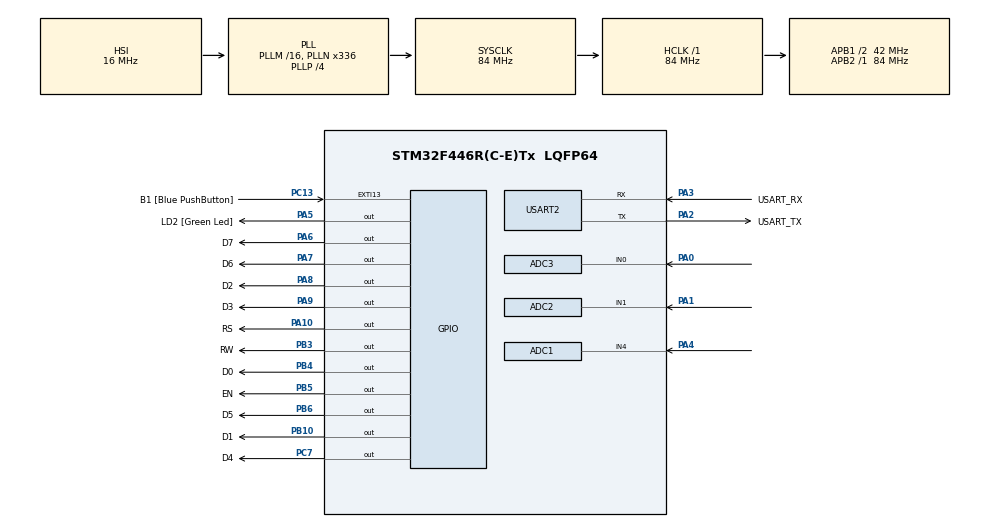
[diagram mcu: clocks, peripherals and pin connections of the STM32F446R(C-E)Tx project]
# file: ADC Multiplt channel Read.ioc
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ADC1.Channel-2\#ChannelRegularConversion=ADC_CHANNEL_4
ADC1.NbrOfConversionFlag=1
ADC1.Rank-2\#ChannelRegularConversion=1
ADC1.SamplingTime-2\#ChannelRegularConversion=ADC_SAMPLETIME_3CYCLES
ADC1.master=1
ADC2.Channel-1\#ChannelRegularConversion=ADC_CHANNEL_1
ADC2.NbrOfConversionFlag=1
ADC2.Rank-1\#ChannelRegularConversion=1
ADC2.SamplingTime-1\#ChannelRegularConversion=ADC_SAMPLETIME_3CYCLES
ADC3.Channel-4\#ChannelRegularConversion=ADC_CHANNEL_0
ADC3.NbrOfConversionFlag=1
ADC3.Rank-4\#ChannelRegularConversion=1
ADC3.SamplingTime-4\#ChannelRegularConversion=ADC_SAMPLETIME_3CYCLES
Mcu.Family=STM32F4
Mcu.Name=STM32F446R(C-E)Tx
Mcu.Package=LQFP64
NVIC.PriorityGroup=NVIC_PRIORITYGROUP_0
PA0-WKUP.Signal=ADCx_IN0
PA1.Signal=ADCx_IN1
PA10.GPIO_Label=RS
PA10.Signal=GPIO_Output
PA13.GPIO_Label=TMS
PA13.Mode=Serial_Wire
PA13.Signal=SYS_JTMS-SWDIO
PA14.GPIO_Label=TCK
PA14.Mode=Serial_Wire
PA14.Signal=SYS_JTCK-SWCLK
PA2.GPIO_Label=USART_TX
PA2.Mode=Asynchronous
PA2.Signal=USART2_TX
PA3.GPIO_Label=USART_RX
PA3.Mode=Asynchronous
PA3.Signal=USART2_RX
PA4.Signal=ADCx_IN4
PA5.GPIO_Label=LD2 [Green Led]
PA5.Signal=GPIO_Output
PA6.GPIO_Label=D7
PA6.Signal=GPIO_Output
PA7.GPIO_Label=D6
PA7.Signal=GPIO_Output
PA8.GPIO_Label=D2
PA8.Signal=GPIO_Output
PA9.GPIO_Label=D3
PA9.Signal=GPIO_Output
PB10.GPIO_Label=D1
PB10.Signal=GPIO_Output
PB3.GPIO_Label=RW
PB3.Signal=GPIO_Output
PB4.GPIO_Label=D0
PB4.Signal=GPIO_Output
PB5.GPIO_Label=EN
PB5.Signal=GPIO_Output
PB6.GPIO_Label=D5
PB6.Signal=GPIO_Output
PC13.GPIO_Label=B1 [Blue PushButton]
PC13.GPIO_ModeDefaultEXTI=GPIO_MODE_IT_FALLING
PC13.Signal=GPXTI13
PC14-OSC32_IN.Mode=LSE-External-Oscillator
PC14-OSC32_IN.Signal=RCC_OSC32_IN
PC15-OSC32_OUT.Mode=LSE-External-Oscillator
PC15-OSC32_OUT.Signal=RCC_OSC32_OUT
PC7.GPIO_Label=D4
PC7.Signal=GPIO_Output
PH0-OSC_IN.Mode=HSE-External-Oscillator
PH0-OSC_IN.Signal=RCC_OSC_IN
PH1-OSC_OUT.Mode=HSE-External-Oscillator
PH1-OSC_OUT.Signal=RCC_OSC_OUT
ProjectManager.HeapSize=0x200
ProjectManager.StackSize=0x400
ProjectManager.TargetToolchain=STM32CubeIDE
RCC.48MHZClocksFreq_Value=84000000
RCC.AHBFreq_Value=84000000
RCC.APB1CLKDivider=RCC_HCLK_DIV2
RCC.APB1Freq_Value=42000000
RCC.APB1TimFreq_Value=84000000
RCC.APB2Freq_Value=84000000
RCC.APB2TimFreq_Value=84000000
RCC.CortexFreq_Value=84000000
RCC.FLatency-AdvancedSettings=FLASH_LATENCY_2
RCC.HCLKFreq_Value=84000000
RCC.HSE_VALUE=8000000
RCC.HSI_VALUE=16000000
RCC.PLLN=336
RCC.PLLP=RCC_PLLP_DIV4
RCC.SYSCLKFreq_VALUE=84000000
RCC.SYSCLKSource=RCC_SYSCLKSOURCE_PLLCLK
RCC.USBFreq_Value=168000000
RCC.VCOOutputFreq_Value=336000000
SH.ADCx_IN0.0=ADC3_IN0,IN0
SH.ADCx_IN1.0=ADC2_IN1,IN1
SH.ADCx_IN4.0=ADC1_IN4,IN4
USART2.VirtualMode=VM_ASYNC
board=NUCLEO-F446RE

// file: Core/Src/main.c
/* USER CODE BEGIN Header */
/**
  ******************************************************************************
  * @file           : main.c
  * @brief          : Main program body
  ******************************************************************************
  * @attention
  *
  * Copyright (c) 2023 STMicroelectronics.
  * All rights reserved.
  *
  * This software is licensed under terms that can be found in the LICENSE file
  * in the root directory of this software component.
  * If no LICENSE file comes with this software, it is provided AS-IS.
  *
  ******************************************************************************
  */
/* USER CODE END Header */
#include "main.h"

/* USER CODE BEGIN Includes */
#include <string.h>
#include <stdio.h>
/* USER CODE END Includes */

/* USER CODE BEGIN PTD */

typedef union{

	struct{
		uint8_t b0:1;
		uint8_t b1:1;
		uint8_t b2:1;
		uint8_t b3:1;
		uint8_t b4:1;
		uint8_t b5:1;
		uint8_t b6:1;
		uint8_t b7:1;
	};

	struct{
		uint8_t nib1:4;
		uint8_t nib2:4;
	};

	uint8_t x;

}Typedef_LCD_PinConfig;

/* USER CODE END PTD */

/* USER CODE BEGIN PD */

#define LCD_CLEAR_SCREEN   0x01
#define LCD_8BIT_MODE      0x38
#define LCD_CURSOR_RIGHT   0x02
#define LCD_ENTRY_MODE     0x06
#define LCD_ON_CURSOR_OFF  0x0C
#define LCD_FIRST_ROW      0x80
#define LCD_SECOUND_ROW    0xC0
#define LCD_CGRAM_LOCation 0x40

/* USER CODE END PD */

ADC_HandleTypeDef hadc1;
ADC_HandleTypeDef hadc2;
ADC_HandleTypeDef hadc3;

UART_HandleTypeDef huart2;

/* USER CODE BEGIN PV */

uint16_t ADC1_Value = 0;
uint16_t ADC2_Value = 0;
uint16_t ADC3_Value = 0;

char arr[35] = {0};

/* USER CODE END PV */

void SystemClock_Config(void);
static void MX_GPIO_Init(void);
static void MX_USART2_UART_Init(void);
static void MX_ADC1_Init(void);
static void MX_ADC2_Init(void);
static void MX_ADC3_Init(void);
/* USER CODE BEGIN PFP */

void LCD_Initialize( void );
void Data_Write(uint8_t Byte);
void LCD_Data_Write(uint8_t data);
void LCD_Command_Write(uint8_t cmd);
void LCD_String_Write(const uint8_t *ptr);
void LCD_Location(uint8_t ROW_Position, uint8_t Col_Position);

/* USER CODE END PFP */

int main(void)
{

  /* MCU Configuration--------------------------------------------------------*/

  /* Reset of all peripherals, Initializes the Flash interface and the Systick. */
  HAL_Init();

  /* Configure the system clock */
  SystemClock_Config();

  /* Initialize all configured peripherals */
  MX_GPIO_Init();
  MX_USART2_UART_Init();
  MX_ADC1_Init();
  MX_ADC2_Init();
  MX_ADC3_Init();
  /* USER CODE BEGIN 2 */
  LCD_Initialize();

  /* USER CODE END 2 */

  /* Infinite loop */
  /* USER CODE BEGIN WHILE */
  while (1)
  {

	  HAL_ADC_Start(&hadc1);
	  if(HAL_ADC_PollForConversion(&hadc1, 5) == HAL_OK)
	  {
		  ADC1_Value = HAL_ADC_GetValue(&hadc1);
	  }
	  HAL_ADC_Stop(&hadc1);

	  sprintf(arr,"A0:%04d ",ADC1_Value);
	  LCD_Command_Write(0x80);
	  LCD_String_Write((const uint8_t *)arr);
	  HAL_UART_Transmit(&huart2, (uint8_t *)arr	, strlen(arr), HAL_MAX_DELAY);
	  HAL_UART_Transmit(&huart2, (uint8_t *)"\r\n", 2, HAL_MAX_DELAY);
	  HAL_UART_Transmit(&huart2, (uint8_t *)"\r\n", 2, HAL_MAX_DELAY);

	  HAL_ADC_Start(&hadc2);
	  if(HAL_ADC_PollForConversion(&hadc2, 5) == HAL_OK)
	  {
		  ADC2_Value = HAL_ADC_GetValue(&hadc2);
	  }
	  HAL_ADC_Stop(&hadc2);

	  sprintf(arr,"A1:%04d",ADC2_Value);
	  LCD_Command_Write(0x88);
	  LCD_String_Write((const uint8_t *)arr);
	  HAL_UART_Transmit(&huart2, (uint8_t *)arr	, strlen(arr), HAL_MAX_DELAY);
	  HAL_UART_Transmit(&huart2,(uint8_t *) "\r\n", 2, HAL_MAX_DELAY);
	  HAL_UART_Transmit(&huart2, (uint8_t *)"\r\n", 2, HAL_MAX_DELAY);

	  HAL_ADC_Start(&hadc3);
	  if(HAL_ADC_PollForConversion(&hadc3, 5) == HAL_OK)
	  {
		  ADC3_Value = HAL_ADC_GetValue(&hadc3);
	  }
	  HAL_ADC_Stop(&hadc3);

	  sprintf(arr,"A2:%04d",ADC3_Value);
	  LCD_Command_Write(0xC0);
	  LCD_String_Write((const uint8_t *)arr);
	  HAL_UART_Transmit(&huart2, (uint8_t *)arr	, strlen(arr), HAL_MAX_DELAY);
	  HAL_UART_Transmit(&huart2,(uint8_t *) "\r\n", 2, HAL_MAX_DELAY);
	  HAL_UART_Transmit(&huart2, (uint8_t *)"\r\n", 2, HAL_MAX_DELAY);

	  HAL_Delay(500);

    /* USER CODE END WHILE */

  }
}

void SystemClock_Config(void)
{
  RCC_OscInitTypeDef RCC_OscInitStruct = {0};
  RCC_ClkInitTypeDef RCC_ClkInitStruct = {0};

  /** Configure the main internal regulator output voltage
  */
  __HAL_RCC_PWR_CLK_ENABLE();
  __HAL_PWR_VOLTAGESCALING_CONFIG(PWR_REGULATOR_VOLTAGE_SCALE3);

  /** Initializes the RCC Oscillators according to the specified parameters
  * in the RCC_OscInitTypeDef structure.
  */
  RCC_OscInitStruct.OscillatorType = RCC_OSCILLATORTYPE_HSI;
  RCC_OscInitStruct.HSIState = RCC_HSI_ON;
  RCC_OscInitStruct.HSICalibrationValue = RCC_HSICALIBRATION_DEFAULT;
  RCC_OscInitStruct.PLL.PLLState = RCC_PLL_ON;
  RCC_OscInitStruct.PLL.PLLSource = RCC_PLLSOURCE_HSI;
  RCC_OscInitStruct.PLL.PLLM = 16;
  RCC_OscInitStruct.PLL.PLLN = 336;
  RCC_OscInitStruct.PLL.PLLP = RCC_PLLP_DIV4;
  RCC_OscInitStruct.PLL.PLLQ = 2;
  RCC_OscInitStruct.PLL.PLLR = 2;
  if (HAL_RCC_OscConfig(&RCC_OscInitStruct) != HAL_OK)
  {
    Error_Handler();
  }

  /** Initializes the CPU, AHB and APB buses clocks
  */
  RCC_ClkInitStruct.ClockType = RCC_CLOCKTYPE_HCLK|RCC_CLOCKTYPE_SYSCLK
                              |RCC_CLOCKTYPE_PCLK1|RCC_CLOCKTYPE_PCLK2;
  RCC_ClkInitStruct.SYSCLKSource = RCC_SYSCLKSOURCE_PLLCLK;
  RCC_ClkInitStruct.AHBCLKDivider = RCC_SYSCLK_DIV1;
  RCC_ClkInitStruct.APB1CLKDivider = RCC_HCLK_DIV2;
  RCC_ClkInitStruct.APB2CLKDivider = RCC_HCLK_DIV1;

  if (HAL_RCC_ClockConfig(&RCC_ClkInitStruct, FLASH_LATENCY_2) != HAL_OK)
  {
    Error_Handler();
  }
}

static void MX_ADC1_Init(void)
{

  ADC_ChannelConfTypeDef sConfig = {0};

  /** Configure the global features of the ADC (Clock, Resolution, Data Alignment and number of conversion)
  */
  hadc1.Instance = ADC1;
  hadc1.Init.ClockPrescaler = ADC_CLOCK_SYNC_PCLK_DIV4;
  hadc1.Init.Resolution = ADC_RESOLUTION_12B;
  hadc1.Init.ScanConvMode = DISABLE;
  hadc1.Init.ContinuousConvMode = DISABLE;
  hadc1.Init.DiscontinuousConvMode = DISABLE;
  hadc1.Init.ExternalTrigConvEdge = ADC_EXTERNALTRIGCONVEDGE_NONE;
  hadc1.Init.ExternalTrigConv = ADC_SOFTWARE_START;
  hadc1.Init.DataAlign = ADC_DATAALIGN_RIGHT;
  hadc1.Init.NbrOfConversion = 1;
  hadc1.Init.DMAContinuousRequests = DISABLE;
  hadc1.Init.EOCSelection = ADC_EOC_SINGLE_CONV;
  if (HAL_ADC_Init(&hadc1) != HAL_OK)
  {
    Error_Handler();
  }

  /** Configure for the selected ADC regular channel its corresponding rank in the sequencer and its sample time.
  */
  sConfig.Channel = ADC_CHANNEL_4;
  sConfig.Rank = 1;
  sConfig.SamplingTime = ADC_SAMPLETIME_3CYCLES;
  if (HAL_ADC_ConfigChannel(&hadc1, &sConfig) != HAL_OK)
  {
    Error_Handler();
  }

}

static void MX_ADC2_Init(void)
{

  ADC_ChannelConfTypeDef sConfig = {0};

  /** Configure the global features of the ADC (Clock, Resolution, Data Alignment and number of conversion)
  */
  hadc2.Instance = ADC2;
  hadc2.Init.ClockPrescaler = ADC_CLOCK_SYNC_PCLK_DIV4;
  hadc2.Init.Resolution = ADC_RESOLUTION_12B;
  hadc2.Init.ScanConvMode = DISABLE;
  hadc2.Init.ContinuousConvMode = DISABLE;
  hadc2.Init.DiscontinuousConvMode = DISABLE;
  hadc2.Init.ExternalTrigConvEdge = ADC_EXTERNALTRIGCONVEDGE_NONE;
  hadc2.Init.ExternalTrigConv = ADC_SOFTWARE_START;
  hadc2.Init.DataAlign = ADC_DATAALIGN_RIGHT;
  hadc2.Init.NbrOfConversion = 1;
  hadc2.Init.DMAContinuousRequests = DISABLE;
  hadc2.Init.EOCSelection = ADC_EOC_SINGLE_CONV;
  if (HAL_ADC_Init(&hadc2) != HAL_OK)
  {
    Error_Handler();
  }

  /** Configure for the selected ADC regular channel its corresponding rank in the sequencer and its sample time.
  */
  sConfig.Channel = ADC_CHANNEL_1;
  sConfig.Rank = 1;
  sConfig.SamplingTime = ADC_SAMPLETIME_3CYCLES;
  if (HAL_ADC_ConfigChannel(&hadc2, &sConfig) != HAL_OK)
  {
    Error_Handler();
  }

}

static void MX_ADC3_Init(void)
{

  ADC_ChannelConfTypeDef sConfig = {0};

  /** Configure the global features of the ADC (Clock, Resolution, Data Alignment and number of conversion)
  */
  hadc3.Instance = ADC3;
  hadc3.Init.ClockPrescaler = ADC_CLOCK_SYNC_PCLK_DIV4;
  hadc3.Init.Resolution = ADC_RESOLUTION_12B;
  hadc3.Init.ScanConvMode = DISABLE;
  hadc3.Init.ContinuousConvMode = DISABLE;
  hadc3.Init.DiscontinuousConvMode = DISABLE;
  hadc3.Init.ExternalTrigConvEdge = ADC_EXTERNALTRIGCONVEDGE_NONE;
  hadc3.Init.ExternalTrigConv = ADC_SOFTWARE_START;
  hadc3.Init.DataAlign = ADC_DATAALIGN_RIGHT;
  hadc3.Init.NbrOfConversion = 1;
  hadc3.Init.DMAContinuousRequests = DISABLE;
  hadc3.Init.EOCSelection = ADC_EOC_SINGLE_CONV;
  if (HAL_ADC_Init(&hadc3) != HAL_OK)
  {
    Error_Handler();
  }

  /** Configure for the selected ADC regular channel its corresponding rank in the sequencer and its sample time.
  */
  sConfig.Channel = ADC_CHANNEL_0;
  sConfig.Rank = 1;
  sConfig.SamplingTime = ADC_SAMPLETIME_3CYCLES;
  if (HAL_ADC_ConfigChannel(&hadc3, &sConfig) != HAL_OK)
  {
    Error_Handler();
  }

}

static void MX_USART2_UART_Init(void)
{

  huart2.Instance = USART2;
  huart2.Init.BaudRate = 115200;
  huart2.Init.WordLength = UART_WORDLENGTH_8B;
  huart2.Init.StopBits = UART_STOPBITS_1;
  huart2.Init.Parity = UART_PARITY_NONE;
  huart2.Init.Mode = UART_MODE_TX_RX;
  huart2.Init.HwFlowCtl = UART_HWCONTROL_NONE;
  huart2.Init.OverSampling = UART_OVERSAMPLING_16;
  if (HAL_UART_Init(&huart2) != HAL_OK)
  {
    Error_Handler();
  }

}

static void MX_GPIO_Init(void)
{
  GPIO_InitTypeDef GPIO_InitStruct = {0};

  /* GPIO Ports Clock Enable */
  __HAL_RCC_GPIOC_CLK_ENABLE();
  __HAL_RCC_GPIOH_CLK_ENABLE();
  __HAL_RCC_GPIOA_CLK_ENABLE();
  __HAL_RCC_GPIOB_CLK_ENABLE();

  /*Configure GPIO pin Output Level */
  HAL_GPIO_WritePin(GPIOA, LD2_Pin|D7_Pin|D6_Pin|D2_Pin
                          |D3_Pin|RS_Pin, GPIO_PIN_RESET);

  /*Configure GPIO pin Output Level */
  HAL_GPIO_WritePin(GPIOB, D1_Pin|RW_Pin|D0_Pin|EN_Pin
                          |D5_Pin, GPIO_PIN_RESET);

  /*Configure GPIO pin Output Level */
  HAL_GPIO_WritePin(D4_GPIO_Port, D4_Pin, GPIO_PIN_RESET);

  /*Configure GPIO pin : B1_Pin */
  GPIO_InitStruct.Pin = B1_Pin;
  GPIO_InitStruct.Mode = GPIO_MODE_IT_FALLING;
  GPIO_InitStruct.Pull = GPIO_NOPULL;
  HAL_GPIO_Init(B1_GPIO_Port, &GPIO_InitStruct);

  /*Configure GPIO pins : LD2_Pin D7_Pin D6_Pin D2_Pin
                           D3_Pin RS_Pin */
  GPIO_InitStruct.Pin = LD2_Pin|D7_Pin|D6_Pin|D2_Pin
                          |D3_Pin|RS_Pin;
  GPIO_InitStruct.Mode = GPIO_MODE_OUTPUT_PP;
  GPIO_InitStruct.Pull = GPIO_NOPULL;
  GPIO_InitStruct.Speed = GPIO_SPEED_FREQ_LOW;
  HAL_GPIO_Init(GPIOA, &GPIO_InitStruct);

  /*Configure GPIO pins : D1_Pin RW_Pin D0_Pin EN_Pin
                           D5_Pin */
  GPIO_InitStruct.Pin = D1_Pin|RW_Pin|D0_Pin|EN_Pin
                          |D5_Pin;
  GPIO_InitStruct.Mode = GPIO_MODE_OUTPUT_PP;
  GPIO_InitStruct.Pull = GPIO_NOPULL;
  GPIO_InitStruct.Speed = GPIO_SPEED_FREQ_LOW;
  HAL_GPIO_Init(GPIOB, &GPIO_InitStruct);

  /*Configure GPIO pin : D4_Pin */
  GPIO_InitStruct.Pin = D4_Pin;
  GPIO_InitStruct.Mode = GPIO_MODE_OUTPUT_PP;
  GPIO_InitStruct.Pull = GPIO_NOPULL;
  GPIO_InitStruct.Speed = GPIO_SPEED_FREQ_LOW;
  HAL_GPIO_Init(D4_GPIO_Port, &GPIO_InitStruct);

}

/* USER CODE BEGIN 4 */

void Data_Write(uint8_t Byte)
{

	Typedef_LCD_PinConfig y = (Typedef_LCD_PinConfig)Byte;

	HAL_GPIO_WritePin(GPIOB, D0_Pin, y.b0);
	HAL_GPIO_WritePin(GPIOB, D1_Pin, y.b1);
	HAL_GPIO_WritePin(GPIOA, D2_Pin, y.b2);
	HAL_GPIO_WritePin(GPIOA, D3_Pin, y.b3);
	HAL_GPIO_WritePin(GPIOC, D4_Pin, y.b4);
	HAL_GPIO_WritePin(GPIOB, D5_Pin, y.b5);
	HAL_GPIO_WritePin(GPIOA, D6_Pin, y.b6);
	HAL_GPIO_WritePin(GPIOA, D7_Pin, y.b7);

}

void LCD_Data_Write(uint8_t data)
{

	HAL_GPIO_WritePin(GPIOA, RS_Pin, GPIO_PIN_SET);

	Data_Write(data);

	HAL_GPIO_WritePin(GPIOB, RW_Pin, GPIO_PIN_RESET);
	HAL_GPIO_WritePin(GPIOB, EN_Pin, GPIO_PIN_SET);
	HAL_Delay(2);
	HAL_GPIO_WritePin(GPIOB, EN_Pin, GPIO_PIN_RESET);
	HAL_Delay(2);
}
void LCD_Command_Write(uint8_t cmd)
{

	HAL_GPIO_WritePin(GPIOA, RS_Pin, GPIO_PIN_RESET);

	Data_Write(cmd);

	HAL_GPIO_WritePin(GPIOB, RW_Pin, GPIO_PIN_RESET);
	HAL_GPIO_WritePin(GPIOB, EN_Pin, GPIO_PIN_SET);
	HAL_Delay(2);
	HAL_GPIO_WritePin(GPIOB, EN_Pin, GPIO_PIN_RESET);
	HAL_Delay(2);
}

void LCD_String_Write(const uint8_t *ptr)
{

	while(*ptr)
	{

		LCD_Data_Write(*ptr++);
	}
}

void LCD_Initialize( void ){

	LCD_Command_Write(LCD_CLEAR_SCREEN);
	LCD_Command_Write(LCD_CURSOR_RIGHT);
	LCD_Command_Write(LCD_ENTRY_MODE);
	LCD_Command_Write(LCD_8BIT_MODE);
	LCD_Command_Write(LCD_ON_CURSOR_OFF);

}

void LCD_Location(uint8_t ROW_Position, uint8_t Col_Position){

	if(ROW_Position == 2){

		LCD_Command_Write(LCD_SECOUND_ROW | Col_Position);
	}

	else{

		LCD_Command_Write(LCD_FIRST_ROW | Col_Position);
	}
}
/* USER CODE END 4 */

void Error_Handler(void)
{
  __disable_irq();
  while (1)
  {
  }
}
